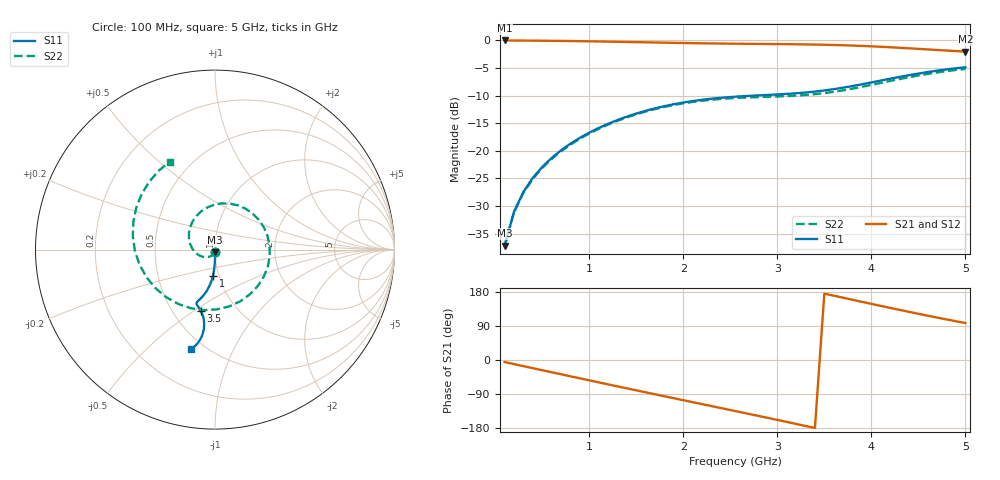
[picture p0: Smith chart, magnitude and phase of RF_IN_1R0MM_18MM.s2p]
! Created Tue Jul 13 11:38:58 2021
! List of port names and net name(s): example Port n = <port_name> <net_name1> <net_name2> ...
! Port 1 = P1 RF_IN GND GND
! Port 2 = P2 NetDD1_9 GND
# hz S ri R 50
! 2 Port Network Data from data block
! freq  reS11  imS11  reS21  imS21  reS12  imS12  reS22  imS22
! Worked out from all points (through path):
!   50 points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, 100 MHz to 5 GHz, reference 50 ohm
!   highest |S21| = -0.01 dB at 100 MHz (marker M1); lowest = -2.0 dB at 5 GHz (marker M2)
!   group delay of S21, straight-line fit = 146 ps
!   lowest |S11| = -37.1 dB at 100 MHz (marker M3), VSWR 1.03, Z = 50 - j1.39 ohm
!   |S11| at or under -10 dB: start of sweep to 2.754 GHz
!   |S22| runs from -37.3 to -5.2 dB; largest |S21 - S12| = 0
!   S11 on the Smith chart (normalised r, x): 100 MHz: 1.00, -0.03; 1 GHz: 0.94, -0.28; 3.5 GHz: 0.68, -0.54; 5 GHz: 0.42, -0.70
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1e8  0.00059 -0.0139  0.9939 -0.0949  0.9939 -0.0949  -0.00202 -0.0136
2e8  0.000533 -0.0281  0.9793 -0.1876  0.9793 -0.1876  -0.00958 -0.026
3e8  0.000239 -0.0425  0.9561 -0.2782  0.9561 -0.2782  -0.0217 -0.0356
4e8  -0.00028 -0.0569  0.9244 -0.3658  0.9244 -0.3658  -0.0374 -0.0413
7e8  -0.00373 -0.101  0.7825 -0.6038  0.7825 -0.6038  -0.095 -0.0281
1e9  -0.0115 -0.1456  0.5812 -0.7898  0.5812 -0.7898  -0.1394 0.0337
1.4e9  -0.0308 -0.2018  0.2534 -0.9338  0.2534 -0.9338  -0.1239 0.1582
1.8e9  -0.058 -0.2472  -0.0953 -0.9487  -0.0953 -0.9487  -0.00404 0.25
2.2e9  -0.085 -0.2771  -0.4191 -0.8425  -0.4191 -0.8425  0.1684 0.229
2.6e9  -0.1013 -0.294  -0.6832 -0.6341  -0.6832 -0.6341  0.2926 0.0757
2.8e9  -0.103 -0.3005  -0.7839 -0.4982  -0.7839 -0.4982  0.3049 -0.0341
3e9  -0.0999 -0.3081  -0.8587 -0.3456  -0.8587 -0.3456  0.2732 -0.1479
3.2e9  -0.0928 -0.3187  -0.9039 -0.1805  -0.9039 -0.1805  0.1963 -0.2478
3.4e9  -0.083 -0.3338  -0.9163 -0.00889  -0.9163 -0.00889  0.0805 -0.3159
3.5e9  -0.0778 -0.3434  -0.9095 0.0771  -0.9095 0.0771  0.0122 -0.333
3.8e9  -0.0644 -0.3809  -0.8375 0.3229  -0.8375 0.3229  -0.2052 -0.3026
4e9  -0.0605 -0.4118  -0.7505 0.4663  -0.7505 0.4663  -0.3322 -0.2143
4.2e9  -0.0628 -0.4453  -0.6391 0.5854  -0.6391 0.5854  -0.4209 -0.0826
4.4e9  -0.072 -0.4786  -0.5113 0.6763  -0.5113 0.6763  -0.4578 0.0741
4.6e9  -0.0879 -0.5093  -0.3752 0.7383  -0.3752 0.7383  -0.4383 0.2344
4.8e9  -0.1091 -0.5352  -0.2376 0.7735  -0.2376 0.7735  -0.3664 0.3785
5e9  -0.1339 -0.5548  -0.1034 0.7853  -0.1034 0.7853  -0.2522 0.4904
